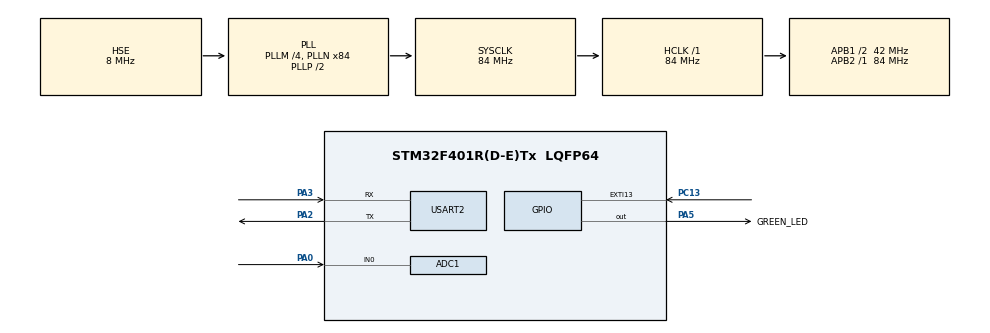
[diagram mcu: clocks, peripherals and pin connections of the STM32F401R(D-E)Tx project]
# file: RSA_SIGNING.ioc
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ADC1.Channel-0\#ChannelRegularConversion=ADC_CHANNEL_0
ADC1.NbrOfConversionFlag=1
ADC1.Rank-0\#ChannelRegularConversion=1
ADC1.Resolution=ADC_RESOLUTION_12B
ADC1.SamplingTime-0\#ChannelRegularConversion=ADC_SAMPLETIME_3CYCLES
ADC1.master=1
Mcu.Family=STM32F4
Mcu.Name=STM32F401R(D-E)Tx
Mcu.Package=LQFP64
NVIC.EXTI15_10_IRQn=true\:0\:0\:false\:false\:true\:true\:true\:true
NVIC.PriorityGroup=NVIC_PRIORITYGROUP_4
NVIC.USART2_IRQn=true\:0\:0\:false\:false\:true\:true\:true\:true
PA0-WKUP.Signal=ADCx_IN0
PA2.Mode=Asynchronous
PA2.Signal=USART2_TX
PA3.Mode=Asynchronous
PA3.Signal=USART2_RX
PA5.GPIO_Label=GREEN_LED
PA5.Signal=GPIO_Output
PC13-ANTI_TAMP.Signal=GPXTI13
PH0\ -\ OSC_IN.Mode=HSE-External-Clock-Source
PH0\ -\ OSC_IN.Signal=RCC_OSC_IN
PH1\ -\ OSC_OUT.Mode=HSE-External-Clock-Source
PH1\ -\ OSC_OUT.Signal=RCC_OSC_OUT
ProjectManager.HeapSize=0x200
ProjectManager.StackSize=0x400
ProjectManager.TargetToolchain=STM32CubeIDE
RCC.48MHZClocksFreq_Value=24000000
RCC.AHBFreq_Value=84000000
RCC.APB1CLKDivider=RCC_HCLK_DIV2
RCC.APB1Freq_Value=42000000
RCC.APB1TimFreq_Value=84000000
RCC.APB2Freq_Value=84000000
RCC.APB2TimFreq_Value=84000000
RCC.CortexFreq_Value=84000000
RCC.HCLKFreq_Value=84000000
RCC.HSE_VALUE=8000000
RCC.HSI_VALUE=16000000
RCC.PLLM=4
RCC.PLLN=84
RCC.PLLQ=7
RCC.PLLSourceVirtual=RCC_PLLSOURCE_HSE
RCC.SYSCLKFreq_VALUE=84000000
RCC.SYSCLKSource=RCC_SYSCLKSOURCE_PLLCLK
RCC.VCOOutputFreq_Value=168000000
SH.ADCx_IN0.0=ADC1_IN0,IN0
USART2.VirtualMode=VM_ASYNC
board=NUCLEO-F401RE

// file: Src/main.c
/* USER CODE BEGIN Header */
/**
  ******************************************************************************
  * @file           : main.c
  * @brief          : Main program body
  ******************************************************************************
  * @attention
  *
  * Copyright (c) 2026 STMicroelectronics.
  * All rights reserved.
  *
  * This software is licensed under terms that can be found in the LICENSE file
  * in the root directory of this software component.
  * If no LICENSE file comes with this software, it is provided AS-IS.
  *
  ******************************************************************************
  */
/* USER CODE END Header */
#include "main.h"

/* USER CODE BEGIN Includes */
#include <stdio.h>
#include <string.h>

#include "key_storage.h"

#include "mbedtls/entropy.h"
#include "mbedtls/ctr_drbg.h"
#include "mbedtls/pk.h"
#include "mbedtls/rsa.h"
/* USER CODE END Includes */

/* USER CODE BEGIN PD */
#define RSA_KEY_SIZE 1024
#define RSA_EXPONENT 65537
/* USER CODE END PD */

ADC_HandleTypeDef hadc1;

UART_HandleTypeDef huart2;

/* USER CODE BEGIN PV */
mbedtls_entropy_context entropy_ctx;
mbedtls_ctr_drbg_context ctr_drbg;
mbedtls_pk_context key;
/* USER CODE END PV */

void SystemClock_Config(void);
static void MX_GPIO_Init(void);
static void MX_USART2_UART_Init(void);
static void MX_ADC1_Init(void);

/* USER CODE BEGIN 0 */
#ifdef __GNUC__
#define PUTCHAR_PROTOTYPE int __io_putchar(int ch)
#else
#define PUTCHAR_PROTOTYPE int fputc(int ch, FILE *f)
#endif

PUTCHAR_PROTOTYPE
{
  HAL_UART_Transmit(&huart2, (uint8_t *)&ch, 1, HAL_MAX_DELAY);
  return ch;
}

static int adc_entropy_source(void *data, unsigned char *output, size_t len, size_t *olen)
{
    for (size_t i = 0; i < len; i++) {
        uint8_t byte = 0;
        for (int bit = 0; bit < 8; bit++) {
            HAL_ADC_Start(&hadc1);
            HAL_ADC_PollForConversion(&hadc1, HAL_MAX_DELAY);
            uint32_t sample = HAL_ADC_GetValue(&hadc1);
            byte = (byte << 1) | (sample & 0x01);
        }
        output[i] = byte;
    }
    *olen = len;
    return 0;
}
/* USER CODE END 0 */

int main(void)
{

  /* MCU Configuration--------------------------------------------------------*/

  /* Reset of all peripherals, Initializes the Flash interface and the Systick. */
  HAL_Init();

  /* Configure the system clock */
  SystemClock_Config();

  /* Initialize all configured peripherals */
  MX_GPIO_Init();
  MX_USART2_UART_Init();
  MX_ADC1_Init();
  /* USER CODE BEGIN 2 */
  mbedtls_entropy_init(&entropy_ctx);
  mbedtls_ctr_drbg_init(&ctr_drbg);
  mbedtls_pk_init(&key);

  int ret = mbedtls_entropy_add_source(&entropy_ctx, adc_entropy_source, NULL, 32, MBEDTLS_ENTROPY_SOURCE_STRONG);
  if (ret != 0)
  {
	  printf("mbedtls_entropy_add_source failed: 0x%04x\r\n", -ret);
  }

  const char *pers = "stm32_f401re_drbg";
  ret = mbedtls_ctr_drbg_seed(&ctr_drbg, mbedtls_entropy_func, &entropy_ctx, (const unsigned char*)pers, strlen(pers));
  if (ret != 0)
  {
	  printf("mbedtls_ctr_drbg_seed failed: 0x%04x\r\n", -ret);
  }

  ret = mbedtls_pk_setup(&key, mbedtls_pk_info_from_type(MBEDTLS_PK_RSA));
  if (ret != 0)
  {
      printf("pk_setup failed: 0x%04x\r\n", -ret);
  }

  printf("Generating key, this might take a while...\r\n");
  if (keystore_load(&key, &ctr_drbg) == 0)
  {
      printf("Loaded key from flash\r\n");
  }
  else
  {
      mbedtls_pk_free(&key); mbedtls_pk_init(&key);
      mbedtls_pk_setup(&key, mbedtls_pk_info_from_type(MBEDTLS_PK_RSA));
      mbedtls_rsa_gen_key(mbedtls_pk_rsa(key), mbedtls_ctr_drbg_random, &ctr_drbg, 2048, 65537);
      printf("Generated key, saving: %s\r\n", keystore_save(&key) == 0 ? "ok" : "FAILED");
  }
  /* USER CODE END 2 */

  /* Infinite loop */
  while (1)
  {

  }
}

void SystemClock_Config(void)
{
  RCC_OscInitTypeDef RCC_OscInitStruct = {0};
  RCC_ClkInitTypeDef RCC_ClkInitStruct = {0};

  /** Configure the main internal regulator output voltage
  */
  __HAL_RCC_PWR_CLK_ENABLE();
  __HAL_PWR_VOLTAGESCALING_CONFIG(PWR_REGULATOR_VOLTAGE_SCALE2);

  /** Initializes the RCC Oscillators according to the specified parameters
  * in the RCC_OscInitTypeDef structure.
  */
  RCC_OscInitStruct.OscillatorType = RCC_OSCILLATORTYPE_HSE;
  RCC_OscInitStruct.HSEState = RCC_HSE_BYPASS;
  RCC_OscInitStruct.PLL.PLLState = RCC_PLL_ON;
  RCC_OscInitStruct.PLL.PLLSource = RCC_PLLSOURCE_HSE;
  RCC_OscInitStruct.PLL.PLLM = 4;
  RCC_OscInitStruct.PLL.PLLN = 84;
  RCC_OscInitStruct.PLL.PLLP = RCC_PLLP_DIV2;
  RCC_OscInitStruct.PLL.PLLQ = 7;
  if (HAL_RCC_OscConfig(&RCC_OscInitStruct) != HAL_OK)
  {
    Error_Handler();
  }

  /** Initializes the CPU, AHB and APB buses clocks
  */
  RCC_ClkInitStruct.ClockType = RCC_CLOCKTYPE_HCLK|RCC_CLOCKTYPE_SYSCLK
                              |RCC_CLOCKTYPE_PCLK1|RCC_CLOCKTYPE_PCLK2;
  RCC_ClkInitStruct.SYSCLKSource = RCC_SYSCLKSOURCE_PLLCLK;
  RCC_ClkInitStruct.AHBCLKDivider = RCC_SYSCLK_DIV1;
  RCC_ClkInitStruct.APB1CLKDivider = RCC_HCLK_DIV2;
  RCC_ClkInitStruct.APB2CLKDivider = RCC_HCLK_DIV1;

  if (HAL_RCC_ClockConfig(&RCC_ClkInitStruct, FLASH_LATENCY_2) != HAL_OK)
  {
    Error_Handler();
  }
}

static void MX_ADC1_Init(void)
{

  ADC_ChannelConfTypeDef sConfig = {0};

  /** Configure the global features of the ADC (Clock, Resolution, Data Alignment and number of conversion)
  */
  hadc1.Instance = ADC1;
  hadc1.Init.ClockPrescaler = ADC_CLOCK_SYNC_PCLK_DIV4;
  hadc1.Init.Resolution = ADC_RESOLUTION_12B;
  hadc1.Init.ScanConvMode = DISABLE;
  hadc1.Init.ContinuousConvMode = DISABLE;
  hadc1.Init.DiscontinuousConvMode = DISABLE;
  hadc1.Init.ExternalTrigConvEdge = ADC_EXTERNALTRIGCONVEDGE_NONE;
  hadc1.Init.ExternalTrigConv = ADC_SOFTWARE_START;
  hadc1.Init.DataAlign = ADC_DATAALIGN_RIGHT;
  hadc1.Init.NbrOfConversion = 1;
  hadc1.Init.DMAContinuousRequests = DISABLE;
  hadc1.Init.EOCSelection = ADC_EOC_SINGLE_CONV;
  if (HAL_ADC_Init(&hadc1) != HAL_OK)
  {
    Error_Handler();
  }

  /** Configure for the selected ADC regular channel its corresponding rank in the sequencer and its sample time.
  */
  sConfig.Channel = ADC_CHANNEL_0;
  sConfig.Rank = 1;
  sConfig.SamplingTime = ADC_SAMPLETIME_3CYCLES;
  if (HAL_ADC_ConfigChannel(&hadc1, &sConfig) != HAL_OK)
  {
    Error_Handler();
  }

}

static void MX_USART2_UART_Init(void)
{

  huart2.Instance = USART2;
  huart2.Init.BaudRate = 115200;
  huart2.Init.WordLength = UART_WORDLENGTH_8B;
  huart2.Init.StopBits = UART_STOPBITS_1;
  huart2.Init.Parity = UART_PARITY_NONE;
  huart2.Init.Mode = UART_MODE_TX_RX;
  huart2.Init.HwFlowCtl = UART_HWCONTROL_NONE;
  huart2.Init.OverSampling = UART_OVERSAMPLING_16;
  if (HAL_UART_Init(&huart2) != HAL_OK)
  {
    Error_Handler();
  }

}

static void MX_GPIO_Init(void)
{
  GPIO_InitTypeDef GPIO_InitStruct = {0};

  /* GPIO Ports Clock Enable */
  __HAL_RCC_GPIOC_CLK_ENABLE();
  __HAL_RCC_GPIOH_CLK_ENABLE();
  __HAL_RCC_GPIOA_CLK_ENABLE();

  /*Configure GPIO pin Output Level */
  HAL_GPIO_WritePin(GREEN_LED_GPIO_Port, GREEN_LED_Pin, GPIO_PIN_RESET);

  /*Configure GPIO pin : PC13 */
  GPIO_InitStruct.Pin = GPIO_PIN_13;
  GPIO_InitStruct.Mode = GPIO_MODE_IT_RISING;
  GPIO_InitStruct.Pull = GPIO_NOPULL;
  HAL_GPIO_Init(GPIOC, &GPIO_InitStruct);

  /*Configure GPIO pin : GREEN_LED_Pin */
  GPIO_InitStruct.Pin = GREEN_LED_Pin;
  GPIO_InitStruct.Mode = GPIO_MODE_OUTPUT_PP;
  GPIO_InitStruct.Pull = GPIO_NOPULL;
  GPIO_InitStruct.Speed = GPIO_SPEED_FREQ_LOW;
  HAL_GPIO_Init(GREEN_LED_GPIO_Port, &GPIO_InitStruct);

  /* EXTI interrupt init*/
  HAL_NVIC_SetPriority(EXTI15_10_IRQn, 0, 0);
  HAL_NVIC_EnableIRQ(EXTI15_10_IRQn);

}

void Error_Handler(void)
{
  __disable_irq();
  while (1)
  {
  }
}
